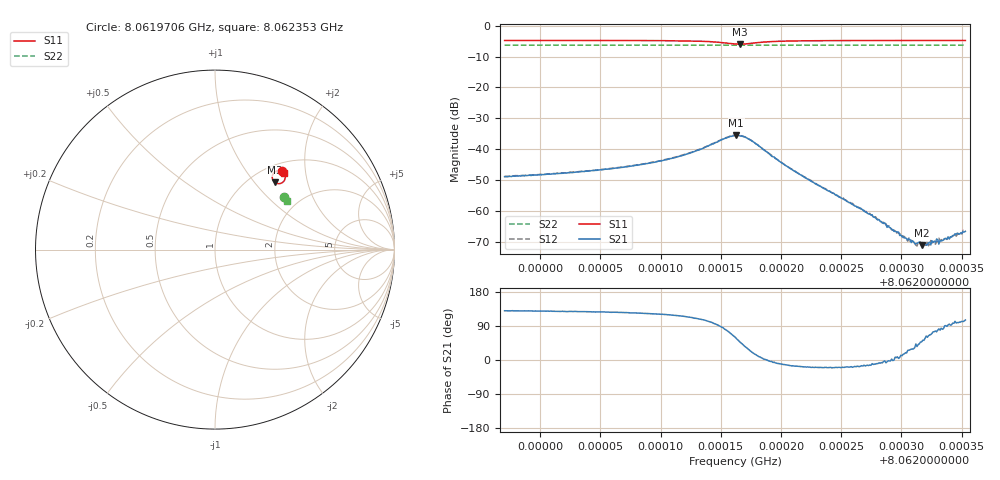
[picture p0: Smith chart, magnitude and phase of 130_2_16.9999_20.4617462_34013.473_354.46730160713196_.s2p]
#  HZ  S  RI  R  50.00
! Rohde & Schwarz Vector Network Analyzer
! Rohde-Schwarz,ZNB20-2Port,1311601062101988,3.16
! Created: UTC 3/20/2024, 10:57:54 PM
! freq[Hz]  re:S11  im:S11  re:S21  im:S21  re:S12  im:S12  re:S22  im:S22
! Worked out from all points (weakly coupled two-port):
!   401 points, 8.0619706 GHz to 8.062353 GHz, reference 50 ohm
!   highest |S21| = -35.48 dB at 8.0621628 GHz (marker M1); lowest = -71.0 dB at 8.0623167 GHz (marker M2)
!   lowest |S11| = -6.0 dB at 8.0621657 GHz (marker M3), VSWR 3.01, Z = 63.7 + j63.9 ohm
!   |S11| at or under -10 dB: nowhere
!   |S22| runs from -6.4 to -6.3 dB; largest |S21 - S12| = 0.0013
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8.06197061e9  0.3745 0.4372  -0.00232 0.00276  -0.00217 0.00293  0.3863 0.2908
8.06203467e9  0.3802 0.4315  -0.00266 0.00345  -0.00247 0.00366  0.3887 0.2875
8.06209873e9  0.3881 0.4197  -0.00331 0.00549  -0.003 0.00573  0.3908 0.284
8.0621255e9  0.3915 0.4063  -0.00333 0.00817  -0.0029 0.00846  0.3915 0.2822
8.06214749e9  0.3831 0.3803  -0.000542 0.0132  0.000313 0.0134  0.3914 0.2802
8.06216183e9  0.3449 0.3687  0.00821 0.0145  0.00935 0.014  0.3902 0.2795
8.06216278e9  0.3415 0.3699  0.00912 0.0141  0.01 0.0137  0.3901 0.2796
8.06216565e9  0.3317 0.3757  0.011 0.0123  0.0118 0.0118  0.3898 0.2798
8.06217617e9  0.3195 0.4099  0.0127 0.00462  0.0131 0.00373  0.3902 0.2811
8.06220198e9  0.3488 0.4392  0.00566 -0.00119  0.00563 -0.00155  0.3927 0.2806
8.06222589e9  0.3631 0.4392  0.00281 -0.000978  0.00279 -0.00115  0.3942 0.2794
8.06226604e9  0.3738 0.4352  0.00107 -0.000313  0.00101 -0.000384  0.3958 0.2773
8.06228994e9  0.3775 0.4334  0.000544 -2.52e-05  0.00057 -1.72e-05  0.3965 0.276
8.06230333e9  0.3791 0.4322  0.000348 0.000122  0.000362 6.28e-05  0.3969 0.2752
8.06231002e9  0.38 0.4317  0.000279 0.000157  0.000295 0.000113  0.3971 0.275
8.06231671e9  0.3807 0.4313  0.000189 0.000209  0.000216 0.000191  0.3974 0.2747
8.06231862e9  0.3809 0.4312  0.000184 0.000234  0.000185 0.000198  0.3975 0.2744
8.06232245e9  0.3812 0.4309  0.000134 0.000278  0.00013 0.000243  0.3976 0.2743
8.06232819e9  0.3819 0.4304  7.22e-05 0.000305  8.79e-05 0.000278  0.3979 0.274
8.06233297e9  0.3823 0.4301  3.47e-05 0.000329  8.38e-05 0.00032  0.398 0.2738
8.06233966e9  0.3829 0.4296  -2.81e-05 0.000353  -1.32e-05 0.000355  0.3982 0.2734
8.06235304e9  0.3842 0.4286  -0.000126 0.000453  -0.000117 0.000475  0.3987 0.2726
